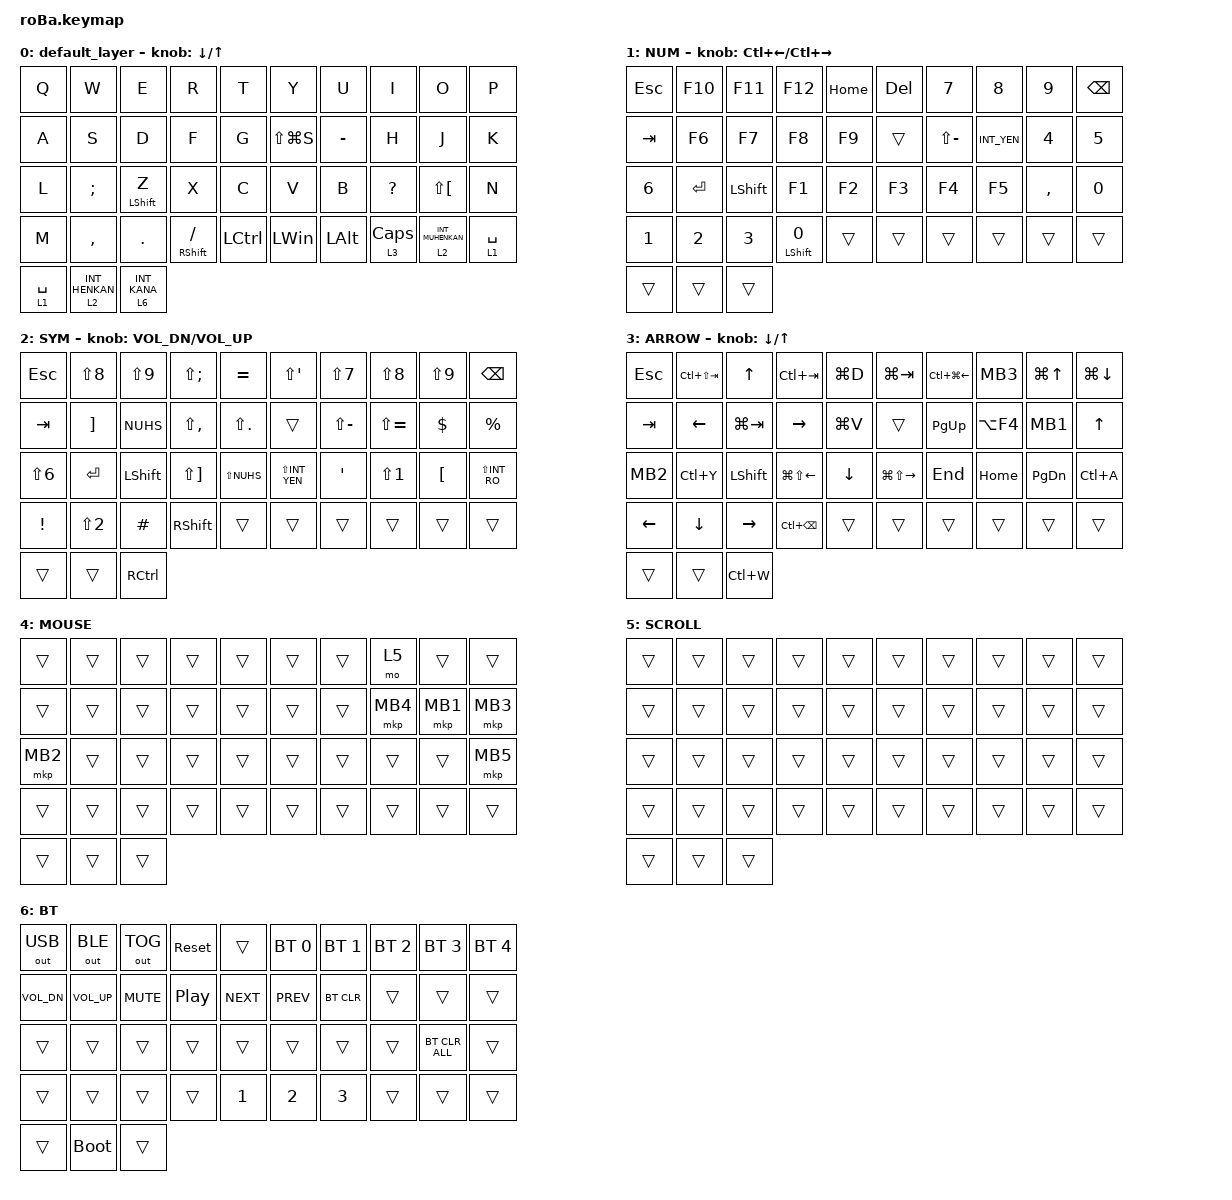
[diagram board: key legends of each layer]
#include <behaviors.dtsi>
#include <dt-bindings/zmk/bt.h>
#include <dt-bindings/zmk/keys.h>
#include <dt-bindings/zmk/outputs.h>
#include <dt-bindings/zmk/pointing.h>

&mt {
    flavor = "balanced";
    quick-tap-ms = <0>;
};

&trackball {
    // automouse is handled by zip_temp_layer in roBa_R.overlay
    scroll-layers = <5>;
};

/ {
    combos {
        compatible = "zmk,combos";

        tab {
            bindings = <&kp TAB>;
            key-positions = <11 12>;
        };

        shift_tab {
            bindings = <&kp LS(TAB)>;
            key-positions = <12 13>;
        };

        muhennkann {
            bindings = <&to_layer_0 INT_MUHENKAN>;
            key-positions = <11 10>;
        };

        eq {
            bindings = <&kp EQUAL>;
            key-positions = <24 25>;
        };

    };

    macros {
        to_layer_0: to_layer_0 {
            compatible = "zmk,behavior-macro-one-param";
            #binding-cells = <1>;
            bindings = <&to 0 &macro_param_1to1 &kp MACRO_PLACEHOLDER>;
            label = "TO_LAYER_0";
        };
    };

    behaviors {
        lt_to_layer_0: lt_to_layer_0 {
            compatible = "zmk,behavior-hold-tap";
            label = "LAYER_TAP_TO_0";
            bindings = <&mo>, <&to_layer_0>;
            #binding-cells = <2>;
            tapping-term-ms = <200>;
        };

    };

        keymap {
            compatible = "zmk,keymap";

        default_layer {
            bindings = <
            &kp Q &kp W &kp E &kp R &kp T &kp Y &kp U &kp I &kp O &kp P
            &kp A &kp S &kp D &kp F &kp G &kp LS(LG(S)) &kp MINUS &kp H &kp J &kp K
            &kp L &kp SEMI &mt LEFT_SHIFT Z &kp X &kp C &kp V &kp B &kp QMARK &kp LS(LBKT) &kp N
            &kp M &kp COMMA &kp DOT &mt RIGHT_SHIFT SLASH &kp LCTRL &kp LEFT_WIN &kp LEFT_ALT &lt 3 CLCK &lt 2 INT_MUHENKAN &lt 1 SPACE
            &lt 1 SPACE &lt 2 INT_HENKAN &lt 6 INT_KANA
            >;
            sensor-bindings = <&inc_dec_kp DOWN UP>;
        };

        NUM {
            bindings = <
            &kp ESC &kp F10 &kp F11 &kp F12 &kp HOME &kp DEL &kp N7 &kp N8 &kp N9 &kp BSPC
            &kp TAB &kp F6 &kp F7 &kp F8 &kp F9 &trans &kp LS(MINUS) &kp INT_YEN &kp N4 &kp N5
            &kp N6 &kp ENTER &kp LSHFT &kp F1 &kp F2 &kp F3 &kp F4 &kp F5 &kp COMMA &kp N0
            &kp N1 &kp N2 &kp N3 &mt LEFT_SHIFT N0 &trans &trans &trans &trans &trans &trans
            &trans &trans &trans
            >;
            sensor-bindings = <&inc_dec_kp LC(LEFT) LC(RIGHT)>;
        };

        SYM {
            bindings = <
            &kp ESC &kp LS(N8) &kp LS(N9) &kp LS(SEMI) &kp EQUAL &kp LS(SQT) &kp LS(N7) &kp LS(N8) &kp LS(N9) &kp BSPC
            &kp TAB &kp RBKT &kp NUHS &kp LS(COMMA) &kp LS(DOT) &trans &kp LS(MINUS) &kp LS(EQUAL) &kp DLLR &kp PRCNT
            &kp LS(N6) &kp ENTER &kp LEFT_SHIFT &kp LS(RBKT) &kp LS(NUHS) &kp LS(INT_YEN) &kp SQT &kp LS(N1) &kp LBKT &kp LS(INT_RO)
            &kp EXCL &kp LS(N2) &kp HASH &kp RSHFT &trans &trans &trans &trans &trans &trans
            &trans &trans &kp RCTRL
            >;
            sensor-bindings = <&inc_dec_kp C_VOL_DN C_VOL_UP>;
        };

        ARROW {
            bindings = <
            &kp ESCAPE &kp LC(LS(TAB)) &kp UP_ARROW &kp LC(TAB) &kp LG(D) &kp LG(TAB) &kp LC(LG(LEFT)) &kp MB3 &kp LG(UP) &kp LG(DOWN)
            &kp TAB &kp LEFT &kp LG(TAB) &kp RIGHT &kp LG(V) &trans &kp PAGE_UP &kp LA(F4) &kp MB1 &kp UP_ARROW
            &kp MB2 &kp LC(Y) &kp LEFT_SHIFT &kp LG(LS(LEFT_ARROW)) &kp DOWN &kp LG(LS(RIGHT_ARROW)) &kp END &kp HOME &kp PAGE_DOWN &kp LC(A)
            &kp LEFT_ARROW &kp DOWN_ARROW &kp RIGHT_ARROW &kp LC(BSPC) &trans &trans &trans &trans &trans &trans
            &trans &trans &kp LC(W)
            >;
            sensor-bindings = <&inc_dec_kp DOWN UP>;
        };

        MOUSE {
            bindings = <
            &trans &trans &trans &trans &trans &trans &trans &mo 5 &trans &trans
            &trans &trans &trans &trans &trans &trans &trans &mkp MB4 &mkp MB1 &mkp MB3
            &mkp MB2 &trans &trans &trans &trans &trans &trans &trans &trans &mkp MB5
            &trans &trans &trans &trans &trans &trans &trans &trans &trans &trans
            &trans &trans &trans
            >;
        };

        SCROLL {
            bindings = <
            &trans &trans &trans &trans &trans &trans &trans &trans &trans &trans
            &trans &trans &trans &trans &trans &trans &trans &trans &trans &trans
            &trans &trans &trans &trans &trans &trans &trans &trans &trans &trans
            &trans &trans &trans &trans &trans &trans &trans &trans &trans &trans
            &trans &trans &trans
            >;
        };

        BT {
            bindings = <
            &out OUT_USB &out OUT_BLE &out OUT_TOG &sys_reset &trans &bt BT_SEL 0 &bt BT_SEL 1 &bt BT_SEL 2 &bt BT_SEL 3 &bt BT_SEL 4
            &kp C_VOL_DN &kp C_VOL_UP &kp C_MUTE &kp C_PP &kp C_NEXT &kp C_PREV &bt BT_CLR &trans &trans &trans
            &trans &trans &trans &trans &trans &trans &trans &trans &bt BT_CLR_ALL &trans
            &trans &trans &trans &trans &kp NUMBER_1 &kp NUMBER_2 &kp NUMBER_3 &trans &trans &trans
            &trans &bootloader &trans
            >;
        };

    };
};
